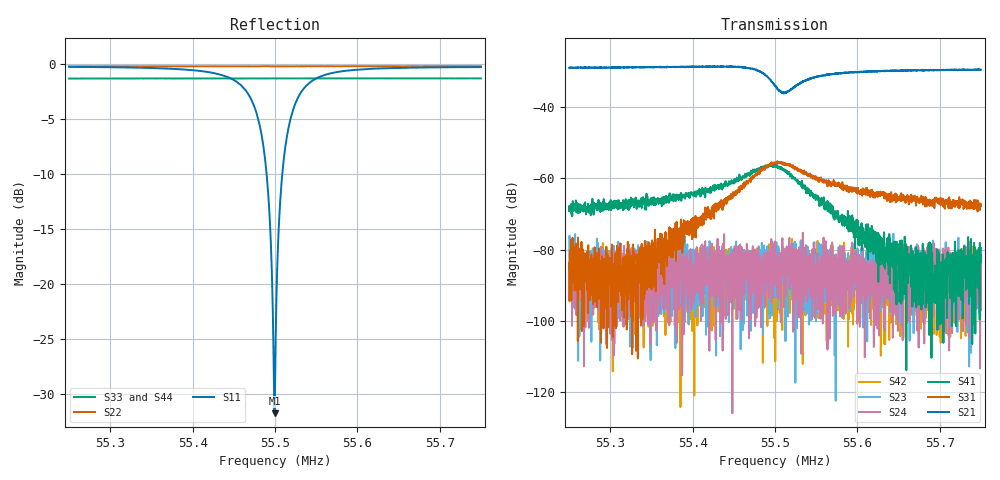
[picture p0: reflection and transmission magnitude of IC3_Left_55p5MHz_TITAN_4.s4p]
#  HZ  S  DB  R  50.00
! Rohde & Schwarz Vector Network Analyzer
! Rohde-Schwarz,ZNB8-4Port,1311601044102961,2.82
! Created: UTC 2/8/2019, 4:14:59 PM
! freq[Hz]  db:S11  ang:S11  db:S12  ang:S12  db:S13  ang:S13  db:S14  ang:S14
!  db:S21  ang:S21  db:S22  ang:S22  db:S23  ang:S23  db:S24  ang:S24
!  db:S31  ang:S31  db:S32  ang:S32  db:S33  ang:S33  db:S34  ang:S34
!  db:S41  ang:S41  db:S42  ang:S42  db:S43  ang:S43  db:S44  ang:S44
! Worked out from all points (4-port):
!   2001 points, 55.25 MHz to 55.75 MHz, reference 50 ohm
!   strongest paths, dB at 55.25 MHz, 55.375 MHz, 55.5 MHz, 55.625 MHz, 55.75 MHz:
!     S21: -29.0, -28.7, -33.9, -29.8, -29.5
!     S31: -94.2, -77.0, -55.6, -64.5, -67.3
!     S41: -69.2, -65.6, -56.6, -78.8, -79.6
!     S24: -83.6, -85.2, -90.1, -82.6, -85.6
!     S23: -93.8, -84.0, -80.0, -80.9, -83.2
!     S42: -88.8, -88.3, -87.5, -89.1, -91.1
!   lowest |S11| = -31.7 dB at 55.4995 MHz (marker M1), VSWR 1.05, Z = 51.2 + j2.33 ohm
!   |S11| at or under -10 dB: 55.4898 MHz to 55.50887 MHz (19.07 kHz wide, 0.0344 % of centre)
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5.525e7  -0.30 -100.9  -28.92 88.3  -87.22 -110.3  -68.95 -122.5
         -28.95 88.4  -0.25 98.7  -93.82 93.8  -83.61 124.4
         -94.18 14.5  -93.51 172.9  -1.36 51.5  -82.05 35.4
         -69.16 -128.0  -88.81 74.7  -88.37 96.9  -1.34 45.4
5.54655e7  -2.54 -147.4  -28.91 62.0  -60.78 15.3  -59.36 -156.3
           -28.89 62.3  -0.25 94.9  -84.96 -72.5  -87.17 -74.5
           -60.61 14.7  -100.03 -173.7  -1.35 49.0  -86.53 2.4
           -59.30 -160.7  -81.58 52.5  -83.39 72.3  -1.33 42.9
5.54995e7  -31.71 61.3  -33.75 48.4  -55.66 -32.5  -56.47 150.7
           -33.76 48.7  -0.24 94.3  -89.17 -157.4  -87.74 -106.4
           -55.74 -33.3  -91.25 119.1  -1.35 48.6  -84.82 -163.1
           -55.92 151.6  -83.78 -19.7  -84.21 -142.2  -1.33 42.4
5.55105e7  -8.79 -37.3  -35.93 70.2  -55.52 -54.7  -57.62 130.7
           -35.82 69.6  -0.24 94.1  -83.59 153.8  -84.50 118.3
           -56.08 -55.2  -85.53 -171.4  -1.35 48.5  -83.07 51.0
           -57.46 131.2  -87.67 112.4  -84.05 123.1  -1.33 42.3
5.553325e7  -2.43 -70.4  -32.91 91.5  -58.16 -84.5  -61.89 99.2
            -32.92 92.9  -0.25 93.7  -78.87 159.7  -98.01 -177.5
            -58.39 -85.8  -93.91 132.3  -1.34 48.2  -84.41 -0.0
            -62.02 99.3  -88.94 -36.3  -103.22 -143.7  -1.33 42.0
5.563275e7  -0.42 -105.3  -29.76 82.7  -63.88 -114.0  -79.04 54.3
            -29.76 83.0  -0.24 92.0  -87.98 -24.8  -89.96 -5.8
            -65.14 -113.2  -90.71 173.5  -1.34 47.1  -90.64 -62.4
            -84.77 62.0  -91.12 19.7  -109.06 120.8  -1.33 40.9
5.575e7  -0.32 -118.0  -29.48 75.7  -66.49 -130.7  -87.13 -114.9
         -29.45 75.6  -0.24 89.9  -83.24 12.5  -85.65 59.1
         -67.31 -126.7  -81.44 94.4  -1.34 45.7  -89.87 121.7
         -79.56 -153.3  -91.14 -51.3  -88.58 49.5  -1.33 39.4
